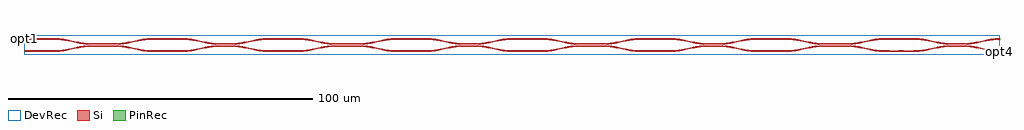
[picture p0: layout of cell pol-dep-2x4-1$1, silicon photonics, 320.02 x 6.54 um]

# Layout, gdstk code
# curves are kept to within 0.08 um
import gdstk
lib = gdstk.Library(unit=1e-6, precision=1e-09)
def R(c, l, rs):  # rectangles x0, y0, x1, y1
    for r in rs: c.add(gdstk.rectangle(r[:2], r[2:], *l))
def P(c, l, *ps):  # polygons
    for p in ps: c.add(gdstk.Polygon(p, *l))
Si = (1, 0)
PinRec = (1, 10)
DevRec = (68, 0)

layer_0_0_phase_sec_0 = lib.new_cell('layer-0_0_phase_sec_0')
P(layer_0_0_phase_sec_0, Si, [(0,-0.225),(0,0.225),(10,0.225),(10,-0.225)])

layer_0_0_phase_sec_2 = lib.new_cell('layer-0_0_phase_sec_2')
P(layer_0_0_phase_sec_2, Si, [(0,-0.225),(0,0.225),(10,0.225),(10,-0.225)])

layer_0_0_phase_sec_3 = lib.new_cell('layer-0_0_phase_sec_3')
P(layer_0_0_phase_sec_3, Si, [(6.485,-0.263),(0,-0.225),(0,0.225),(10,0.225),(10,-0.225)])

dc_arm_up_4 = lib.new_cell('dc_arm_up_4')
R(dc_arm_up_4, Si, [(12,0.1,16,0.55)])
P(dc_arm_up_4, Si, [(16,0.1),(16,0.55),(17.481,0.613),(18.966,0.793),(25.344,2.033),(26.861,2.188),(28,2.225),(28,1.775),(26.519,1.712),(25.034,1.532),(18.656,0.292),(17.139,0.137)],
  [(12,0.1),(10.861,0.137),(9.344,0.292),(2.966,1.532),(1.481,1.712),(0,1.775),(0,2.225),(1.139,2.188),(2.656,2.033),(9.034,0.793),(10.519,0.613),(12,0.55)])

dc_arm_down_4 = lib.new_cell('dc_arm_down_4')
R(dc_arm_down_4, Si, [(12,-0.55,16,-0.1)])
P(dc_arm_down_4, Si, [(28,-2.225),(26.861,-2.188),(25.344,-2.033),(18.966,-0.793),(17.481,-0.613),(16,-0.55),(16,-0.1),(17.139,-0.137),(18.656,-0.292),(25.034,-1.532),(26.519,-1.712),(28,-1.775)],
  [(0,-2.225),(0,-1.775),(1.481,-1.712),(2.966,-1.532),(9.344,-0.292),(10.861,-0.137),(12,-0.1),(12,-0.55),(10.519,-0.613),(9.034,-0.793),(2.656,-2.033),(1.139,-2.188)])

dc_4 = lib.new_cell('dc_4')
dc_4.add(gdstk.Reference(dc_arm_up_4, (0,0)))
dc_4.add(gdstk.Reference(dc_arm_down_4, (0,0)))

layer_1_0_phase_sec_0 = lib.new_cell('layer-1_0_phase_sec_0')
P(layer_1_0_phase_sec_0, Si, [(4.835,-0.226),(0,-0.225),(0,0.225),(10,0.225),(10,-0.225)])

layer_1_0_phase_sec_2 = lib.new_cell('layer-1_0_phase_sec_2')
P(layer_1_0_phase_sec_2, Si, [(4.862,-0.272),(0,-0.225),(0,0.225),(10,0.225),(10,-0.225)])

layer_0_0_phase_sec_1 = lib.new_cell('layer-0_0_phase_sec_1')
P(layer_0_0_phase_sec_1, Si, [(6.46,-0.232),(0,-0.225),(0,0.225),(10,0.225),(10,-0.225)])

layer_2_0_phase_sec_1 = lib.new_cell('layer-2_0_phase_sec_1')
P(layer_2_0_phase_sec_1, Si, [(4.843,-0.241),(0,-0.225),(0,0.225),(10,0.225),(10,-0.225)])

dc_arm_up_8 = lib.new_cell('dc_arm_up_8')
R(dc_arm_up_8, Si, [(12,0.1,20,0.55)])
P(dc_arm_up_8, Si, [(20,0.1),(20,0.55),(21.481,0.613),(22.966,0.793),(29.344,2.033),(30.861,2.188),(32,2.225),(32,1.775),(30.519,1.712),(29.034,1.532),(22.656,0.292),(21.139,0.137)],
  [(12,0.1),(10.861,0.137),(9.344,0.292),(2.966,1.532),(1.481,1.712),(0,1.775),(0,2.225),(1.139,2.188),(2.656,2.033),(9.034,0.793),(10.519,0.613),(12,0.55)])

dc_arm_down_8 = lib.new_cell('dc_arm_down_8')
R(dc_arm_down_8, Si, [(12,-0.55,20,-0.1)])
P(dc_arm_down_8, Si, [(32,-2.225),(30.861,-2.188),(29.344,-2.033),(22.966,-0.793),(21.481,-0.613),(20,-0.55),(20,-0.1),(21.139,-0.137),(22.656,-0.292),(29.034,-1.532),(30.519,-1.712),(32,-1.775)],
  [(0,-2.225),(0,-1.775),(1.481,-1.712),(2.966,-1.532),(9.344,-0.292),(10.861,-0.137),(12,-0.1),(12,-0.55),(10.519,-0.613),(9.034,-0.793),(2.656,-2.033),(1.139,-2.188)])

dc_8 = lib.new_cell('dc_8')
dc_8.add(gdstk.Reference(dc_arm_up_8, (0,0)))
dc_8.add(gdstk.Reference(dc_arm_down_8, (0,0)))

layer_2_0_phase_sec_2 = lib.new_cell('layer-2_0_phase_sec_2')
P(layer_2_0_phase_sec_2, Si, [(4.863,-0.256),(0,-0.225),(0,0.225),(10,0.225),(10,-0.225)])

layer_2_0_phase_sec_0 = lib.new_cell('layer-2_0_phase_sec_0')
P(layer_2_0_phase_sec_0, Si, [(0,-0.225),(0,0.225),(10,0.225),(10,-0.225)])

layer_2_0_phase_sec_3 = lib.new_cell('layer-2_0_phase_sec_3')
P(layer_2_0_phase_sec_3, Si, [(0,-0.225),(0,0.225),(10,0.225),(10,-0.225)])

layer_3_0_phase_sec_1 = lib.new_cell('layer-3_0_phase_sec_1')
P(layer_3_0_phase_sec_1, Si, [(1.619,-0.251),(0,-0.225),(0,0.225),(10,0.225),(10,-0.225)])

layer_1_0_phase_sec_3 = lib.new_cell('layer-1_0_phase_sec_3')
P(layer_1_0_phase_sec_3, Si, [(0,-0.225),(0,0.225),(10,0.225),(10,-0.225)])

layer_3_0_phase_sec_2 = lib.new_cell('layer-3_0_phase_sec_2')
P(layer_3_0_phase_sec_2, Si, [(8.08,-0.245),(0,-0.225),(0,0.225),(10,0.225),(10,-0.225)])

layer_1_0_phase_sec_1 = lib.new_cell('layer-1_0_phase_sec_1')
P(layer_1_0_phase_sec_1, Si, [(6.451,-0.237),(0,-0.225),(0,0.225),(10,0.225),(10,-0.225)])

layer_3_0_phase_sec_0 = lib.new_cell('layer-3_0_phase_sec_0')
P(layer_3_0_phase_sec_0, Si, [(0,-0.225),(0,0.225),(10,0.225),(10,-0.225)])

layer_3_0_phase_sec_3 = lib.new_cell('layer-3_0_phase_sec_3')
P(layer_3_0_phase_sec_3, Si, [(0,-0.225),(0,0.225),(10,0.225),(10,-0.225)])

pol_dep_2x4_1_1 = lib.new_cell('pol-dep-2x4-1$1')
R(pol_dep_2x4_1_1, DevRec, [(0,-1,320,5.535)])
pol_dep_2x4_1_1.add(gdstk.FlexPath([(319.99,0.263),(320.01,0.263)], 0.45, ends="flush", simple_path=True, layer=1, datatype=10))  # PinRec
pol_dep_2x4_1_1.add(gdstk.FlexPath([(319.99,4.263),(320.01,4.263)], 0.45, ends="flush", simple_path=True, layer=1, datatype=10))  # PinRec
pol_dep_2x4_1_1.add(gdstk.FlexPath([(0.01,0.263),(-0.01,0.263)], 0.45, ends="flush", simple_path=True, layer=1, datatype=10))  # PinRec
pol_dep_2x4_1_1.add(gdstk.FlexPath([(0.01,4.263),(-0.01,4.263)], 0.45, ends="flush", simple_path=True, layer=1, datatype=10))  # PinRec
pol_dep_2x4_1_1.add(gdstk.Reference(layer_0_0_phase_sec_0, (0,4.263)))
pol_dep_2x4_1_1.add(gdstk.Reference(layer_0_0_phase_sec_2, (42,4.263)))
pol_dep_2x4_1_1.add(gdstk.Reference(layer_0_0_phase_sec_3, (42,0.263)))
pol_dep_2x4_1_1.add(gdstk.Reference(dc_4, (52,2.263)))
pol_dep_2x4_1_1.add(gdstk.Reference(dc_4, (132,2.263)))
pol_dep_2x4_1_1.add(gdstk.Reference(dc_4, (212,2.263)))
pol_dep_2x4_1_1.add(gdstk.Reference(dc_4, (292,2.263)))
pol_dep_2x4_1_1.add(gdstk.Reference(layer_1_0_phase_sec_0, (80,4.263)))
pol_dep_2x4_1_1.add(gdstk.Reference(layer_1_0_phase_sec_2, (122,4.263)))
pol_dep_2x4_1_1.add(gdstk.Reference(layer_0_0_phase_sec_1, (0,0.263)))
pol_dep_2x4_1_1.add(gdstk.Reference(layer_2_0_phase_sec_1, (160,0.263)))
pol_dep_2x4_1_1.add(gdstk.Reference(dc_8, (10,2.263)))
pol_dep_2x4_1_1.add(gdstk.Reference(dc_8, (90,2.263)))
pol_dep_2x4_1_1.add(gdstk.Reference(dc_8, (170,2.263)))
pol_dep_2x4_1_1.add(gdstk.Reference(dc_8, (250,2.263)))
pol_dep_2x4_1_1.add(gdstk.Reference(layer_2_0_phase_sec_2, (202,4.263)))
pol_dep_2x4_1_1.add(gdstk.Reference(layer_2_0_phase_sec_0, (160,4.263)))
pol_dep_2x4_1_1.add(gdstk.Reference(layer_2_0_phase_sec_3, (202,0.263)))
pol_dep_2x4_1_1.add(gdstk.Reference(layer_3_0_phase_sec_1, (240,0.263)))
pol_dep_2x4_1_1.add(gdstk.Reference(layer_1_0_phase_sec_3, (122,0.263)))
pol_dep_2x4_1_1.add(gdstk.Reference(layer_3_0_phase_sec_2, (282,4.263)))
pol_dep_2x4_1_1.add(gdstk.Reference(layer_1_0_phase_sec_1, (80,0.263)))
pol_dep_2x4_1_1.add(gdstk.Reference(layer_3_0_phase_sec_0, (240,4.263)))
pol_dep_2x4_1_1.add(gdstk.Reference(layer_3_0_phase_sec_3, (282,0.263)))
pol_dep_2x4_1_1.add(gdstk.Label('opt4', (320,0.263), layer=1, texttype=10))
pol_dep_2x4_1_1.add(gdstk.Label('opt3', (320,4.263), layer=1, texttype=10))
pol_dep_2x4_1_1.add(gdstk.Label('opt1', (0,4.263), layer=1, texttype=10))
pol_dep_2x4_1_1.add(gdstk.Label('opt2', (0,0.26), layer=1, texttype=10))

lib.write_gds('pol-dep-2x4-1_1.gds')
